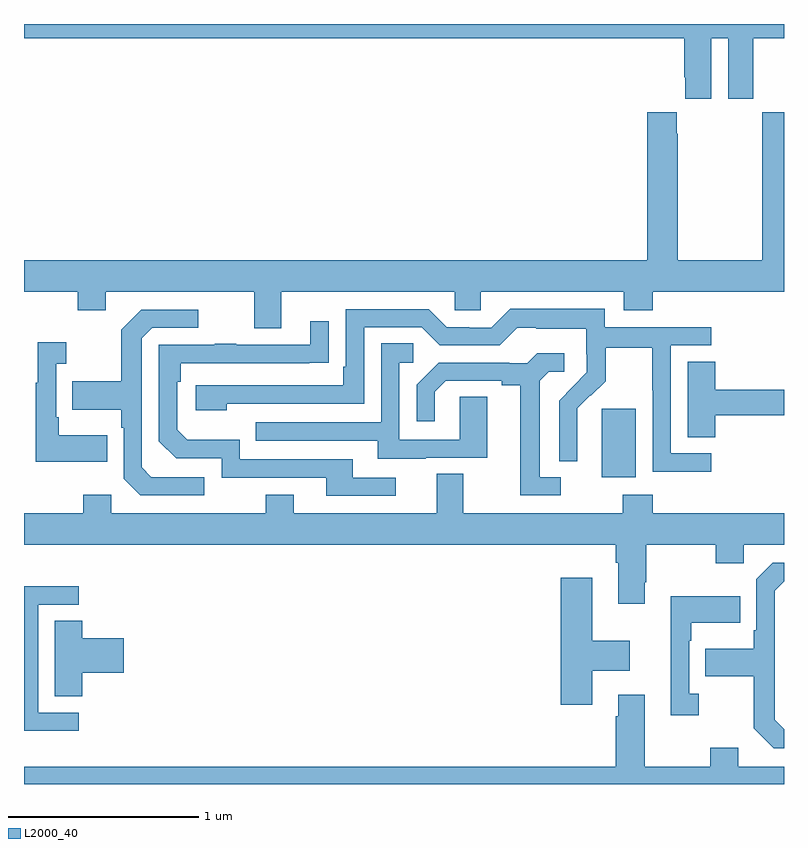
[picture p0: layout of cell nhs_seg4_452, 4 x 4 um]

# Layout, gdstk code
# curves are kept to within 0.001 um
import gdstk
lib = gdstk.Library(unit=1e-6, precision=1e-09)
def R(c, l, rs):  # rectangles x0, y0, x1, y1
    for r in rs: c.add(gdstk.rectangle(r[:2], r[2:], *l))
def P(c, l, *ps):  # polygons
    for p in ps: c.add(gdstk.Polygon(p, *l))
L2000_40 = (2000, 40)

nhs_seg4_452 = lib.new_cell('nhs_seg4_452')
R(nhs_seg4_452, L2000_40, [(136.04,790.514,136.219,790.875)])
P(nhs_seg4_452, L2000_40, [(136.618,792.824),(136.706,792.824),(136.706,792.507),(136.837,792.507),(136.837,792.824),(137,792.824),(137,792.9),(133,792.9),(133,792.824),(136.475,792.824),(136.475,792.619),(136.481,792.619),(136.481,792.507),(136.618,792.507)],
  [(134.353,791.492),(135.267,791.492),(135.267,791.394),(135.405,791.394),(135.405,791.492),(136.157,791.492),(136.157,791.393),(136.31,791.393),(136.31,791.492),(137,791.492),(137,792.436),(136.885,792.436),(136.885,791.656),(136.44,791.656),(136.44,792.323),(136.435,792.323),(136.435,792.436),(136.28,792.436),(136.28,791.656),(133,791.656),(133,791.492),(133.282,791.492),(133.282,791.393),(133.429,791.393),(133.429,791.492),(134.213,791.492),(134.213,791.298),(134.353,791.298)],
  [(136.618,790.641),(136.404,790.641),(136.404,791.208),(136.618,791.208),(136.618,791.304),(136.056,791.304),(136.056,791.401),(135.559,791.401),(135.459,791.301),(135.344,791.301),(135.344,791.304),(135.225,791.304),(135.129,791.4),(134.694,791.4),(134.694,791.095),(134.681,791.095),(134.681,790.998),(133.905,790.998),(133.905,790.868),(134.066,790.868),(134.066,790.902),(134.79,790.902),(134.79,791.304),(135.093,791.304),(135.189,791.208),(135.504,791.208),(135.597,791.301),(135.697,791.301),(135.697,791.297),(135.96,791.297),(135.96,791.163),(135.962,791.163),(135.962,791.066),(135.816,790.918),(135.816,790.6),(135.912,790.6),(135.911,790.877),(135.981,790.947),(135.984,790.944),(136.061,791.021),(136.061,791.196),(136.306,791.196),(136.306,790.972),(136.308,790.972),(136.308,790.543),(136.618,790.543)],
  [(133.948,790.515),(133.671,790.515),(133.62,790.566),(133.62,791.247),(133.674,791.301),(133.918,791.301),(133.918,791.397),(133.617,791.397),(133.512,791.291),(133.512,791.019),(133.255,791.019),(133.255,790.871),(133.512,790.871),(133.512,790.775),(133.524,790.775),(133.524,790.506),(133.611,790.419),(133.948,790.419)],
  [(134.956,790.512),(134.731,790.512),(134.731,790.608),(134.136,790.608),(134.136,790.711),(133.859,790.711),(133.806,790.764),(133.806,791.018),(133.826,791.018),(133.826,791.115),(134.603,791.116),(134.603,791.335),(134.507,791.335),(134.507,791.211),(134.117,791.211),(134.117,791.216),(134.005,791.216),(134.005,791.211),(133.71,791.211),(133.71,790.704),(133.8,790.614),(134.04,790.614),(134.04,790.512),(134.591,790.512),(134.591,790.416),(134.956,790.416)],
  [(133.439,790.735),(133.183,790.735),(133.183,790.831),(133.17,790.831),(133.17,791.111),(133.222,791.111),(133.222,791.224),(133.073,791.224),(133.073,791.011),(133.062,791.011),(133.062,790.595),(133.439,790.595)],
  [(135.115,790.617),(135.439,790.617),(135.439,790.937),(135.294,790.937),(135.294,790.713),(134.976,790.713),(134.976,791.118),(135.049,791.118),(135.049,791.219),(134.88,791.219),(134.88,790.803),(134.221,790.803),(134.221,790.707),(134.861,790.707),(134.861,790.613),(135.115,790.613)],
  [(135.826,790.515),(135.715,790.515),(135.715,791.023),(135.762,791.07),(135.844,791.07),(135.844,791.167),(135.7,791.167),(135.648,791.115),(135.554,791.115),(135.554,791.118),(135.182,791.118),(135.066,791.002),(135.066,790.809),(135.163,790.809),(135.163,790.965),(135.22,791.022),(135.515,791.022),(135.515,791),(135.611,791),(135.611,790.419),(135.826,790.419)],
  [(136.637,790.84),(137,790.84),(137,790.976),(136.637,790.976),(136.637,791.123),(136.493,791.123),(136.493,790.726),(136.637,790.726)],
  [(136.267,789.961),(136.275,789.961),(136.275,790.16),(136.642,790.16),(136.642,790.061),(136.788,790.061),(136.788,790.16),(137,790.16),(137,790.324),(136.31,790.324),(136.31,790.423),(136.15,790.423),(136.15,790.324),(135.313,790.324),(135.313,790.532),(135.173,790.532),(135.173,790.324),(134.419,790.324),(134.419,790.423),(134.272,790.423),(134.272,790.324),(133.458,790.324),(133.458,790.423),(133.312,790.423),(133.312,790.324),(133,790.324),(133,790.16),(136.115,790.16),(136.115,790.064),(136.127,790.064),(136.127,789.849),(136.267,789.849)],
  [(137,789.187),(136.95,789.237),(136.95,789.918),(137,789.968),(137,790.065),(136.941,790.065),(136.854,789.978),(136.854,789.709),(136.842,789.709),(136.842,789.613),(136.585,789.613),(136.585,789.466),(136.842,789.466),(136.842,789.193),(136.947,789.087),(137,789.087)],
  [(135.991,789.497),(136.189,789.497),(136.189,789.655),(135.991,789.655),(135.991,789.985),(135.824,789.985),(135.824,789.318),(135.991,789.318)],
  [(133.288,789.276),(133.074,789.276),(133.074,789.843),(133.288,789.843),(133.288,789.942),(133,789.942),(133,789.18),(133.288,789.18)],
  [(136.552,789.374),(136.5,789.374),(136.5,789.653),(136.513,789.653),(136.513,789.749),(136.769,789.749),(136.769,789.889),(136.403,789.889),(136.403,789.261),(136.552,789.261)],
  [(133.307,789.485),(133.525,789.485),(133.525,789.668),(133.307,789.668),(133.307,789.758),(133.163,789.758),(133.163,789.361),(133.307,789.361)],
  [(137,788.992),(136.759,788.992),(136.759,789.091),(136.612,789.091),(136.612,788.992),(136.267,788.992),(136.267,789.37),(136.127,789.37),(136.127,789.257),(136.115,789.257),(136.115,788.992),(133,788.992),(133,788.9),(137,788.9)])

lib.write_gds('nhs_seg4_452.gds')
